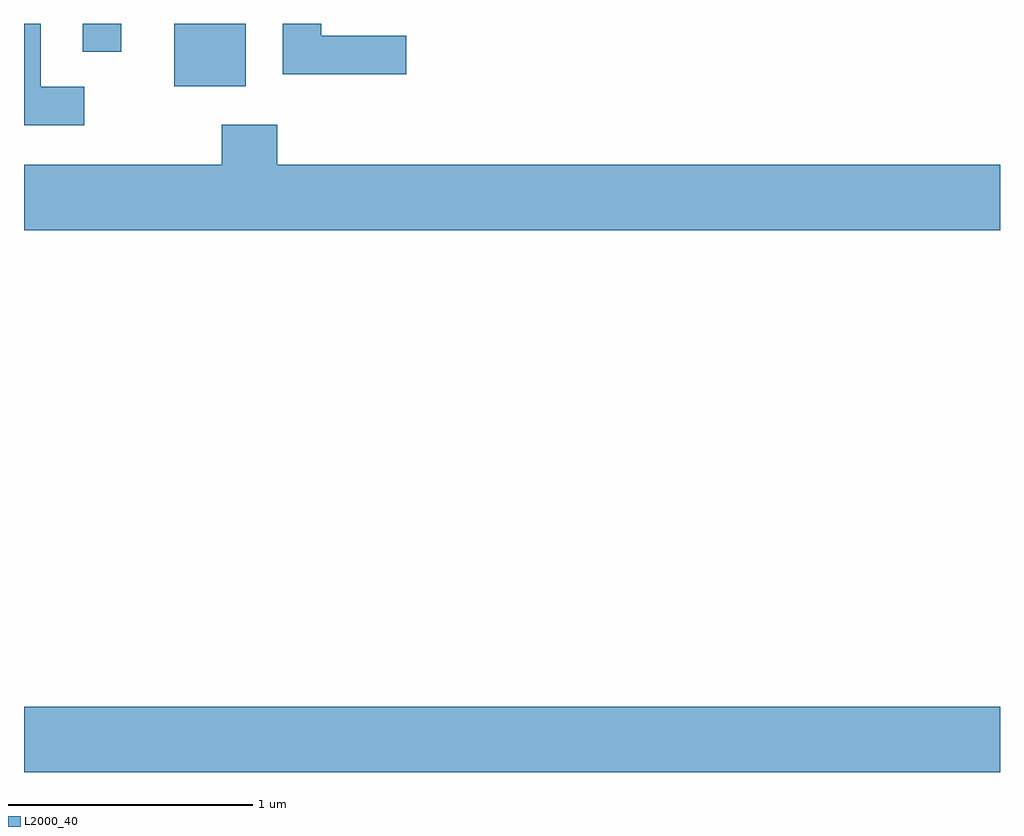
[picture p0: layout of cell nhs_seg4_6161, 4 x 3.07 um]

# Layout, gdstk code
import gdstk
lib = gdstk.Library(unit=1e-6, precision=1e-09)
def R(c, l, rs):  # rectangles x0, y0, x1, y1
    for r in rs: c.add(gdstk.rectangle(r[:2], r[2:], *l))
def P(c, l, *ps):  # polygons
    for p in ps: c.add(gdstk.Polygon(p, *l))
L2000_40 = (2000, 40)

nhs_seg4_6161 = lib.new_cell('nhs_seg4_6161')
R(nhs_seg4_6161, L2000_40, [(365.611,1336.916,369.611,1337.184), (366.226,1339.726,366.519,1339.982), (365.851,1339.868,366.009,1339.982)])
P(nhs_seg4_6161, L2000_40, [(367.178,1339.934),(366.829,1339.934),(366.829,1339.982),(366.671,1339.982),(366.671,1339.776),(367.178,1339.776)],
  [(365.858,1339.724),(365.679,1339.724),(365.679,1339.982),(365.611,1339.982),(365.611,1339.566),(365.858,1339.566)],
  [(369.611,1339.404),(366.649,1339.404),(366.649,1339.569),(366.421,1339.569),(366.421,1339.404),(365.611,1339.404),(365.611,1339.136),(369.611,1339.136)])

lib.write_gds('nhs_seg4_6161.gds')
